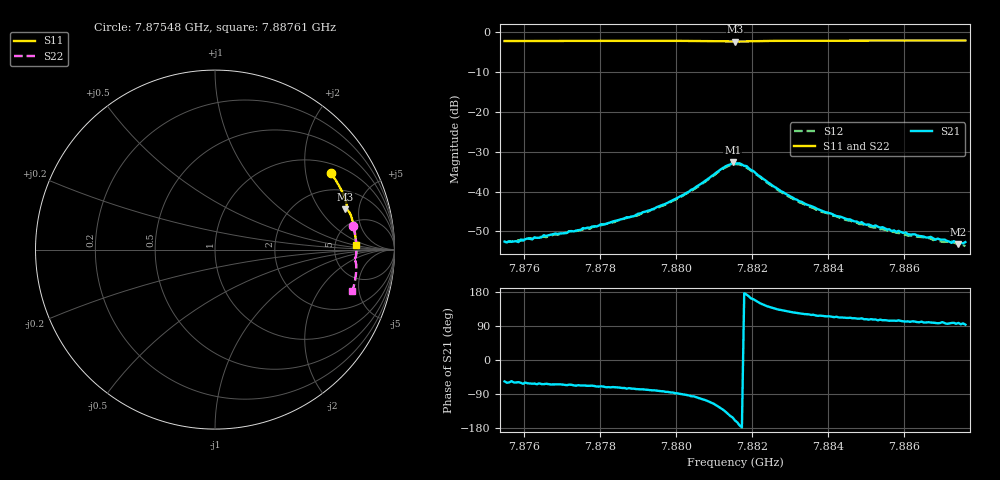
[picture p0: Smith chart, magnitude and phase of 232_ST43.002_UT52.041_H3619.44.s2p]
#  HZ  S  DB  R  50.00
! Rohde & Schwarz Vector Network Analyzer
! Rohde-Schwarz,ZNB20-2Port,1311601062101988,3.16
! Created: UTC 1/12/2023, 6:46:41 PM
! freq[Hz]  db:S11  ang:S11  db:S21  ang:S21  db:S12  ang:S12  db:S22  ang:S22
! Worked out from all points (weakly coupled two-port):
!   201 points, 7.87548 GHz to 7.88761 GHz, reference 50 ohm
!   highest |S21| = -32.67 dB at 7.88149 GHz (marker M1); lowest = -53.2 dB at 7.88743 GHz (marker M2)
!   lowest |S11| = -2.4 dB at 7.88155 GHz (marker M3), VSWR 7.37, Z = 168 + j180 ohm
!   |S11| at or under -10 dB: nowhere
!   |S22| runs from -2.3 to -1.9 dB; largest |S21 - S12| = 0.0024
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7.875482e9  -2.22 33.2  -52.56 -56.6  -52.69 -62.1  -2.15 9.5
7.875846e9  -2.22 32.2  -52.67 -58.4  -52.20 -64.4  -2.14 8.7
7.875906e9  -2.22 32.1  -52.02 -60.0  -52.36 -63.9  -2.15 8.5
7.876209e9  -2.21 31.2  -51.99 -62.6  -51.82 -65.5  -2.13 7.8
7.877544e9  -2.19 27.6  -49.15 -67.3  -49.49 -70.9  -2.09 4.7
7.877908e9  -2.19 26.6  -48.75 -70.1  -48.66 -72.6  -2.09 3.9
7.878878e9  -2.18 24.0  -46.20 -75.7  -46.10 -79.2  -2.07 1.6
7.879545e9  -2.18 22.1  -43.69 -81.7  -43.93 -85.8  -2.06 0.0
7.880334e9  -2.19 19.9  -40.02 -93.5  -40.14 -96.8  -2.07 -2.0
7.881244e9  -2.32 17.4  -34.00 -132.0  -34.19 -135.6  -2.20 -4.1
7.881486e9  -2.37 17.2  -32.67 -151.7  -33.17 -156.9  -2.25 -4.1
7.881547e9  -2.37 17.2  -32.91 -159.7  -33.13 -162.7  -2.26 -4.1
7.88185e9  -2.33 17.1  -33.59 172.7  -33.99 169.2  -2.22 -4.0
7.88276e9  -2.17 14.8  -39.92 131.9  -40.07 128.0  -2.05 -5.9
7.883609e9  -2.13 12.3  -43.86 119.3  -44.12 114.7  -2.00 -8.0
7.884822e9  -2.11 9.1  -47.88 109.0  -48.15 105.9  -1.96 -10.8
7.885611e9  -2.10 7.0  -49.47 103.5  -49.98 101.8  -1.95 -12.5
7.887006e9  -2.08 3.3  -52.07 100.0  -52.60 94.9  -1.94 -15.6
7.887248e9  -2.08 2.7  -52.87 97.8  -52.52 92.2  -1.94 -16.1
7.887309e9  -2.08 2.5  -52.43 98.1  -52.80 96.4  -1.94 -16.2
7.88743e9  -2.08 2.2  -53.24 97.9  -53.04 93.6  -1.94 -16.4
7.887612e9  -2.08 1.7  -52.67 93.3  -53.70 92.8  -1.94 -16.8
